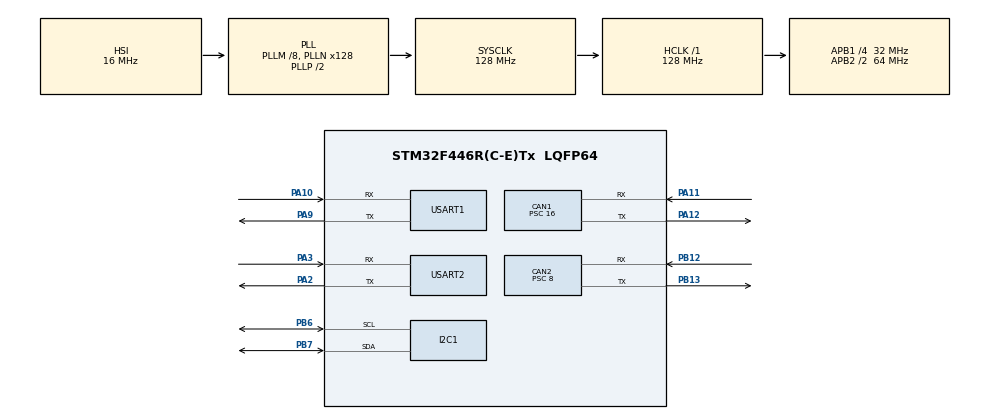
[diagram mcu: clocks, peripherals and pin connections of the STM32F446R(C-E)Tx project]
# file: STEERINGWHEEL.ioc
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CAN1.BS1=CAN_BS1_2TQ
CAN1.CalculateBaudRate=500000
CAN1.CalculateTimeBit=2000
CAN1.CalculateTimeQuantum=500.0
CAN1.Mode=CAN_MODE_NORMAL
CAN1.Prescaler=16
CAN2.BS1=CAN_BS1_2TQ
CAN2.CalculateBaudRate=1000000
CAN2.CalculateTimeBit=1000
CAN2.CalculateTimeQuantum=250.0
CAN2.Mode=CAN_MODE_NORMAL
CAN2.Prescaler=8
Mcu.Family=STM32F4
Mcu.Name=STM32F446R(C-E)Tx
Mcu.Package=LQFP64
NVIC.PriorityGroup=NVIC_PRIORITYGROUP_4
PA10.Mode=Asynchronous
PA10.Signal=USART1_RX
PA11.Mode=CAN_Activate
PA11.Signal=CAN1_RX
PA12.Mode=CAN_Activate
PA12.Signal=CAN1_TX
PA13.Mode=Serial_Wire
PA13.Signal=SYS_JTMS-SWDIO
PA14.Mode=Serial_Wire
PA14.Signal=SYS_JTCK-SWCLK
PA2.Mode=Asynchronous
PA2.Signal=USART2_TX
PA3.Mode=Asynchronous
PA3.Signal=USART2_RX
PA9.Mode=Asynchronous
PA9.Signal=USART1_TX
PB12.Mode=CAN_Activate
PB12.Signal=CAN2_RX
PB13.Mode=CAN_Activate
PB13.Signal=CAN2_TX
PB6.GPIO_Pu=GPIO_PULLUP
PB6.Mode=I2C
PB6.Signal=I2C1_SCL
PB7.GPIO_Pu=GPIO_PULLUP
PB7.Mode=I2C
PB7.Signal=I2C1_SDA
ProjectManager.HeapSize=0x200
ProjectManager.StackSize=0x400
ProjectManager.TargetToolchain=STM32CubeIDE
RCC.AHBFreq_Value=128000000
RCC.APB1CLKDivider=RCC_HCLK_DIV4
RCC.APB1Freq_Value=32000000
RCC.APB1TimFreq_Value=64000000
RCC.APB2CLKDivider=RCC_HCLK_DIV2
RCC.APB2Freq_Value=64000000
RCC.APB2TimFreq_Value=128000000
RCC.CortexFreq_Value=128000000
RCC.HCLKFreq_Value=128000000
RCC.PLLM=8
RCC.PLLN=128
RCC.SYSCLKFreq_VALUE=128000000
RCC.SYSCLKSource=RCC_SYSCLKSOURCE_PLLCLK
RCC.USBFreq_Value=128000000
RCC.VCOOutputFreq_Value=256000000
USART1.VirtualMode=VM_ASYNC
USART2.VirtualMode=VM_ASYNC
board=custom

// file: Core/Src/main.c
/* USER CODE BEGIN Header */
/**
  ******************************************************************************
  * @file           : main.c
  * @brief          : Main program body
  ******************************************************************************
  * @attention
  *
  * Copyright (c) 2022 STMicroelectronics.
  * All rights reserved.
  *
  * This software is licensed under terms that can be found in the LICENSE file
  * in the root directory of this software component.
  * If no LICENSE file comes with this software, it is provided AS-IS.
  *
  ******************************************************************************
  */
/* USER CODE END Header */
#include "main.h"

/* USER CODE BEGIN Includes */
#include <string.h>
#include <stdio.h>

#include "FEB_CAN.h"
/* USER CODE END Includes */

/* USER CODE BEGIN PD */
#define MODULE_NAME       "STEERINGWHEEL"

#define DEBUG             0

#define NLSM_END          0x0A
#define NLSM_ESC          0x0B
#define NLSM_ESC_END      0x1A
#define NLSM_ESC_ESC      0x1B
/* USER CODE END PD */

 CAN_HandleTypeDef hcan1;
CAN_HandleTypeDef hcan2;

I2C_HandleTypeDef hi2c1;

UART_HandleTypeDef huart1;
UART_HandleTypeDef huart2;

void SystemClock_Config(void);
static void MX_GPIO_Init(void);
static void MX_CAN1_Init(void);
static void MX_CAN2_Init(void);
static void MX_I2C1_Init(void);
static void MX_USART2_UART_Init(void);
static void MX_USART1_UART_Init(void);
/* USER CODE BEGIN PFP */

void FEB_NLSM_transmit(uint8_t *buffer) {
  uint8_t temp;
  for (uint16_t i=0; i<12; i+=1) {
    if (buffer[i] == NLSM_ESC) {
      HAL_UART_Transmit(&huart1, &(buffer[i]), 1, 100);
      HAL_UART_Transmit(&huart2, &(buffer[i]), 1, 100);
      temp = NLSM_ESC_ESC;
      HAL_UART_Transmit(&huart1, &temp, 1, 100);
      HAL_UART_Transmit(&huart2, &temp, 1, 100);
    }
    else if (buffer[i] == NLSM_END) {
      temp = NLSM_ESC;
      HAL_UART_Transmit(&huart1, &temp, 1, 100);
      HAL_UART_Transmit(&huart2, &temp, 1, 100);
      temp = NLSM_ESC_END;
      HAL_UART_Transmit(&huart1, &temp, 1, 100);
      HAL_UART_Transmit(&huart2, &temp, 1, 100);
    }
    else {
      HAL_UART_Transmit(&huart1, &(buffer[i]), 1, 100);
      HAL_UART_Transmit(&huart2, &(buffer[i]), 1, 100);
    }
  }
  temp = NLSM_END;
  HAL_UART_Transmit(&huart1, &temp, 1, 100);
  HAL_UART_Transmit(&huart2, &temp, 1, 100);
}

/* USER CODE END PFP */

int main(void)
{

  /* MCU Configuration--------------------------------------------------------*/

  /* Reset of all peripherals, Initializes the Flash interface and the Systick. */
  HAL_Init();

  /* Configure the system clock */
  SystemClock_Config();

  /* Initialize all configured peripherals */
  MX_GPIO_Init();
  MX_CAN1_Init();
  MX_CAN2_Init();
  MX_I2C1_Init();
  MX_USART2_UART_Init();
  MX_USART1_UART_Init();
  /* USER CODE BEGIN 2 */
  FEB_CAN_initFilter(&hcan1, 0, 0);
  FEB_CAN_initFilter(&hcan2, 0, 0);

  if (HAL_CAN_Start(&hcan1) != HAL_OK) {
//    while (1)
//      FEB_log(MODULE_NAME, "CRITICAL", "CAN1 initialization error");
  }
  if (HAL_CAN_Start(&hcan2) != HAL_OK) {
//    while (1)
//      FEB_log(MODULE_NAME, "CRITICAL", "CAN1 initialization error");
  }

  uint32_t counter = 0;
  /* USER CODE END 2 */

  /* Infinite loop */
  while (1)
  {

    /* USER CODE BEGIN 3 */
    if (counter > 10) {
      uint8_t button_bank_0;
      uint8_t button_bank_1;

      if (HAL_I2C_Master_Receive(&hi2c1, 0x41, &button_bank_0, 1, 100) != HAL_OK) {
        if (DEBUG) FEB_log(MODULE_NAME, "ERROR", "I2C btn bank 0 read error");
      }

      if (HAL_I2C_Master_Receive(&hi2c1, 0x42, &button_bank_1, 1, 100) != HAL_OK) {
        if (DEBUG) FEB_log(MODULE_NAME, "ERROR", "I2C btn bank 1 read error");
      }

      if (!(button_bank_0 & 0b1)) {
        if (DEBUG) FEB_log(MODULE_NAME, "INFO", "ready to drive!");

        uint8_t buffer = 0;
        FEB_CAN_transmit(&hcan1, 0x200, &buffer, 1, 1);

        uint8_t log_buffer[12] = {0x00, 0x02, 0, 1, 0, 0, 0, 0, 0, 0, 0, 0};
        FEB_NLSM_transmit(log_buffer);
      }

      if (!(button_bank_1 & 0b1)) {
        if (DEBUG) FEB_log(MODULE_NAME, "INFO", "drivetrain shut down!");

        uint8_t buffer = 1;
        FEB_CAN_transmit(&hcan1, 0x200, &buffer, 1, 1);

        uint8_t log_buffer[12] = {0x00, 0x02, 0, 1, 1, 0, 0, 0, 0, 0, 0, 0};
        FEB_NLSM_transmit(log_buffer);
      }
      counter = 0;
    }

    counter += 1;

    if (HAL_CAN_GetRxFifoFillLevel(&hcan1, CAN_RX_FIFO0) > 0 || HAL_CAN_GetRxFifoFillLevel(&hcan1, CAN_RX_FIFO1) > 0) {
      CAN_RxHeaderTypeDef header;
      uint8_t buffer[8];

      HAL_CAN_GetRxMessage(&hcan1, CAN_RX_FIFO0, &header, buffer);

      uint8_t log_buffer[16];

      ((uint16_t *)log_buffer)[0] = header.StdId;
      log_buffer[2] = header.RTR;
      log_buffer[3] = header.DLC;
      log_buffer[4] = buffer[0];
      log_buffer[5] = buffer[1];
      log_buffer[6] = buffer[2];
      log_buffer[7] = buffer[3];
      log_buffer[8] = buffer[4];
      log_buffer[9] = buffer[5];
      log_buffer[10] = buffer[6];
      log_buffer[11] = buffer[7];

      FEB_NLSM_transmit(log_buffer);
    }

    HAL_Delay(10);
  }
  /* USER CODE END 3 */
}

void SystemClock_Config(void)
{
  RCC_OscInitTypeDef RCC_OscInitStruct = {0};
  RCC_ClkInitTypeDef RCC_ClkInitStruct = {0};

  /** Configure the main internal regulator output voltage
  */
  __HAL_RCC_PWR_CLK_ENABLE();
  __HAL_PWR_VOLTAGESCALING_CONFIG(PWR_REGULATOR_VOLTAGE_SCALE2);

  /** Initializes the RCC Oscillators according to the specified parameters
  * in the RCC_OscInitTypeDef structure.
  */
  RCC_OscInitStruct.OscillatorType = RCC_OSCILLATORTYPE_HSI;
  RCC_OscInitStruct.HSIState = RCC_HSI_ON;
  RCC_OscInitStruct.HSICalibrationValue = RCC_HSICALIBRATION_DEFAULT;
  RCC_OscInitStruct.PLL.PLLState = RCC_PLL_ON;
  RCC_OscInitStruct.PLL.PLLSource = RCC_PLLSOURCE_HSI;
  RCC_OscInitStruct.PLL.PLLM = 8;
  RCC_OscInitStruct.PLL.PLLN = 128;
  RCC_OscInitStruct.PLL.PLLP = RCC_PLLP_DIV2;
  RCC_OscInitStruct.PLL.PLLQ = 2;
  RCC_OscInitStruct.PLL.PLLR = 2;
  if (HAL_RCC_OscConfig(&RCC_OscInitStruct) != HAL_OK)
  {
    Error_Handler();
  }

  /** Initializes the CPU, AHB and APB buses clocks
  */
  RCC_ClkInitStruct.ClockType = RCC_CLOCKTYPE_HCLK|RCC_CLOCKTYPE_SYSCLK
                              |RCC_CLOCKTYPE_PCLK1|RCC_CLOCKTYPE_PCLK2;
  RCC_ClkInitStruct.SYSCLKSource = RCC_SYSCLKSOURCE_PLLCLK;
  RCC_ClkInitStruct.AHBCLKDivider = RCC_SYSCLK_DIV1;
  RCC_ClkInitStruct.APB1CLKDivider = RCC_HCLK_DIV4;
  RCC_ClkInitStruct.APB2CLKDivider = RCC_HCLK_DIV2;

  if (HAL_RCC_ClockConfig(&RCC_ClkInitStruct, FLASH_LATENCY_4) != HAL_OK)
  {
    Error_Handler();
  }
}

static void MX_CAN1_Init(void)
{

  hcan1.Instance = CAN1;
  hcan1.Init.Prescaler = 16;
  hcan1.Init.Mode = CAN_MODE_NORMAL;
  hcan1.Init.SyncJumpWidth = CAN_SJW_1TQ;
  hcan1.Init.TimeSeg1 = CAN_BS1_2TQ;
  hcan1.Init.TimeSeg2 = CAN_BS2_1TQ;
  hcan1.Init.TimeTriggeredMode = DISABLE;
  hcan1.Init.AutoBusOff = DISABLE;
  hcan1.Init.AutoWakeUp = DISABLE;
  hcan1.Init.AutoRetransmission = DISABLE;
  hcan1.Init.ReceiveFifoLocked = DISABLE;
  hcan1.Init.TransmitFifoPriority = DISABLE;
  if (HAL_CAN_Init(&hcan1) != HAL_OK)
  {
    Error_Handler();
  }

}

static void MX_CAN2_Init(void)
{

  hcan2.Instance = CAN2;
  hcan2.Init.Prescaler = 8;
  hcan2.Init.Mode = CAN_MODE_NORMAL;
  hcan2.Init.SyncJumpWidth = CAN_SJW_1TQ;
  hcan2.Init.TimeSeg1 = CAN_BS1_2TQ;
  hcan2.Init.TimeSeg2 = CAN_BS2_1TQ;
  hcan2.Init.TimeTriggeredMode = DISABLE;
  hcan2.Init.AutoBusOff = DISABLE;
  hcan2.Init.AutoWakeUp = DISABLE;
  hcan2.Init.AutoRetransmission = DISABLE;
  hcan2.Init.ReceiveFifoLocked = DISABLE;
  hcan2.Init.TransmitFifoPriority = DISABLE;
  if (HAL_CAN_Init(&hcan2) != HAL_OK)
  {
    Error_Handler();
  }

}

static void MX_I2C1_Init(void)
{

  hi2c1.Instance = I2C1;
  hi2c1.Init.ClockSpeed = 100000;
  hi2c1.Init.DutyCycle = I2C_DUTYCYCLE_2;
  hi2c1.Init.OwnAddress1 = 0;
  hi2c1.Init.AddressingMode = I2C_ADDRESSINGMODE_7BIT;
  hi2c1.Init.DualAddressMode = I2C_DUALADDRESS_DISABLE;
  hi2c1.Init.OwnAddress2 = 0;
  hi2c1.Init.GeneralCallMode = I2C_GENERALCALL_DISABLE;
  hi2c1.Init.NoStretchMode = I2C_NOSTRETCH_DISABLE;
  if (HAL_I2C_Init(&hi2c1) != HAL_OK)
  {
    Error_Handler();
  }

}

static void MX_USART1_UART_Init(void)
{

  huart1.Instance = USART1;
  huart1.Init.BaudRate = 115200;
  huart1.Init.WordLength = UART_WORDLENGTH_8B;
  huart1.Init.StopBits = UART_STOPBITS_1;
  huart1.Init.Parity = UART_PARITY_NONE;
  huart1.Init.Mode = UART_MODE_TX_RX;
  huart1.Init.HwFlowCtl = UART_HWCONTROL_NONE;
  huart1.Init.OverSampling = UART_OVERSAMPLING_16;
  if (HAL_UART_Init(&huart1) != HAL_OK)
  {
    Error_Handler();
  }

}

static void MX_USART2_UART_Init(void)
{

  huart2.Instance = USART2;
  huart2.Init.BaudRate = 115200;
  huart2.Init.WordLength = UART_WORDLENGTH_8B;
  huart2.Init.StopBits = UART_STOPBITS_1;
  huart2.Init.Parity = UART_PARITY_NONE;
  huart2.Init.Mode = UART_MODE_TX_RX;
  huart2.Init.HwFlowCtl = UART_HWCONTROL_NONE;
  huart2.Init.OverSampling = UART_OVERSAMPLING_16;
  if (HAL_UART_Init(&huart2) != HAL_OK)
  {
    Error_Handler();
  }

}

static void MX_GPIO_Init(void)
{

  /* GPIO Ports Clock Enable */
  __HAL_RCC_GPIOA_CLK_ENABLE();
  __HAL_RCC_GPIOB_CLK_ENABLE();

}

void Error_Handler(void)
{
  __disable_irq();
  while (1)
  {
  }
}
